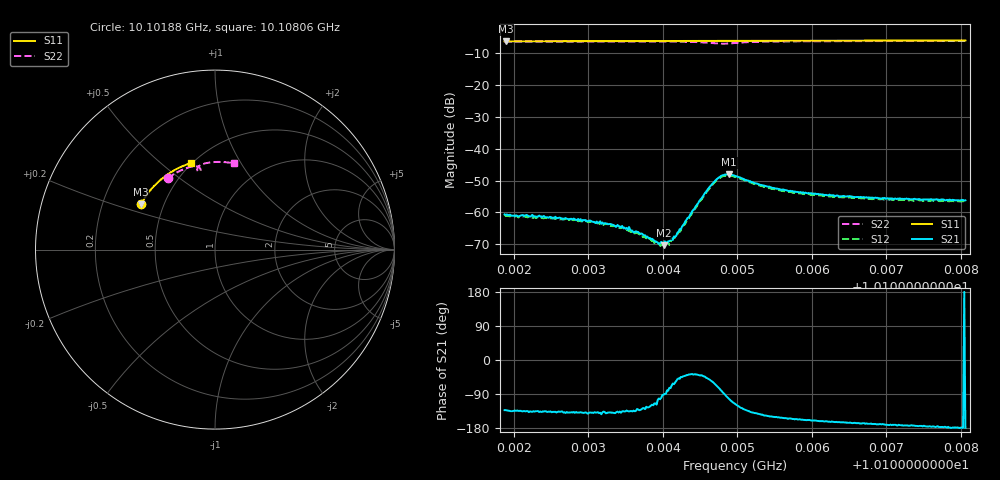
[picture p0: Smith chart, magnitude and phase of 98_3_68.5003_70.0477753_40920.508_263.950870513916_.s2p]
#  HZ  S  RI  R  50.00
! Rohde & Schwarz Vector Network Analyzer
! Rohde-Schwarz,ZNB20-2Port,1311601062101988,3.16
! Created: UTC 3/20/2024, 5:08:06 PM
! freq[Hz]  re:S11  im:S11  re:S21  im:S21  re:S12  im:S12  re:S22  im:S22
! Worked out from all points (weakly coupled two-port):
!   401 points, 10.10188 GHz to 10.10806 GHz, reference 50 ohm
!   highest |S21| = -48.07 dB at 10.10489 GHz (marker M1); lowest = -70.3 dB at 10.10401 GHz (marker M2)
!   lowest |S11| = -6.3 dB at 10.10189 GHz (marker M3), VSWR 2.88, Z = 18.6 + j12.2 ohm
!   |S11| at or under -10 dB: nowhere
!   |S22| runs from -7.1 to -6.2 dB; largest |S21 - S12| = 0.00041
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1.0101876e10  -0.4143 0.2514  -0.000627 -0.000689  -0.000578 -0.000709  -0.2622 0.3983
1.0101892e10  -0.4137 0.2521  -0.00062 -0.000678  -0.000552 -0.000691  -0.2615 0.3988
1.0102371e10  -0.3992 0.2774  -0.000635 -0.000587  -0.000556 -0.000617  -0.2357 0.4162
1.0102913e10  -0.3808 0.3046  -0.000553 -0.000483  -0.000504 -0.000513  -0.2047 0.434
1.0103253e10  -0.3683 0.3211  -0.000506 -0.000432  -0.00047 -0.000471  -0.1842 0.4438
1.0103423e10  -0.3618 0.3293  -0.000436 -0.00042  -0.000387 -0.000419  -0.1735 0.4484
1.0103686e10  -0.3515 0.3413  -0.00032 -0.000347  -0.00025 -0.00038  -0.1564 0.455
1.0103949e10  -0.3407 0.3532  -6.39e-05 -0.000312  -5.52e-05 -0.000322  -0.1381 0.4603
1.0104011e10  -0.3381 0.356  -8.54e-06 -0.000307  1.34e-05 -0.000311  -0.1335 0.4615
1.0104088e10  -0.3348 0.3593  0.000102 -0.00034  9.23e-05 -0.000295  -0.1275 0.4628
1.0104166e10  -0.3314 0.3627  0.000212 -0.000359  0.000261 -0.000306  -0.1213 0.4637
1.0104258e10  -0.3275 0.3666  0.000422 -0.000424  0.000427 -0.000371  -0.1138 0.4644
1.0104599e10  -0.3123 0.3807  0.00151 -0.00168  0.00156 -0.00148  -0.0833 0.4537
1.0104691e10  -0.3082 0.3841  0.00143 -0.00266  0.00162 -0.00247  -0.0804 0.4437
1.01048e10  -0.3032 0.3885  0.000402 -0.0038  0.000702 -0.0036  -0.0877 0.4351
1.0104893e10  -0.299 0.3918  -0.000897 -0.00385  -0.000523 -0.00374  -0.0964 0.4385
1.010497e10  -0.2954 0.3948  -0.00161 -0.00339  -0.00131 -0.00338  -0.0993 0.4461
1.0105279e10  -0.2809 0.4066  -0.0022 -0.00172  -0.00197 -0.00184  -0.0827 0.4697
1.0105496e10  -0.2701 0.4145  -0.00209 -0.00121  -0.00191 -0.00131  -0.0666 0.4769
1.0106006e10  -0.2445 0.4316  -0.00185 -0.000688  -0.00169 -0.000825  -0.0305 0.485
1.0107043e10  -0.1891 0.4609  -0.00164 -0.000237  -0.00153 -0.000415  0.0385 0.4883
1.0108064e10  -0.1313 0.4827  -0.00155 -3.32e-05  -0.00149 -0.000158  0.104 0.4812
